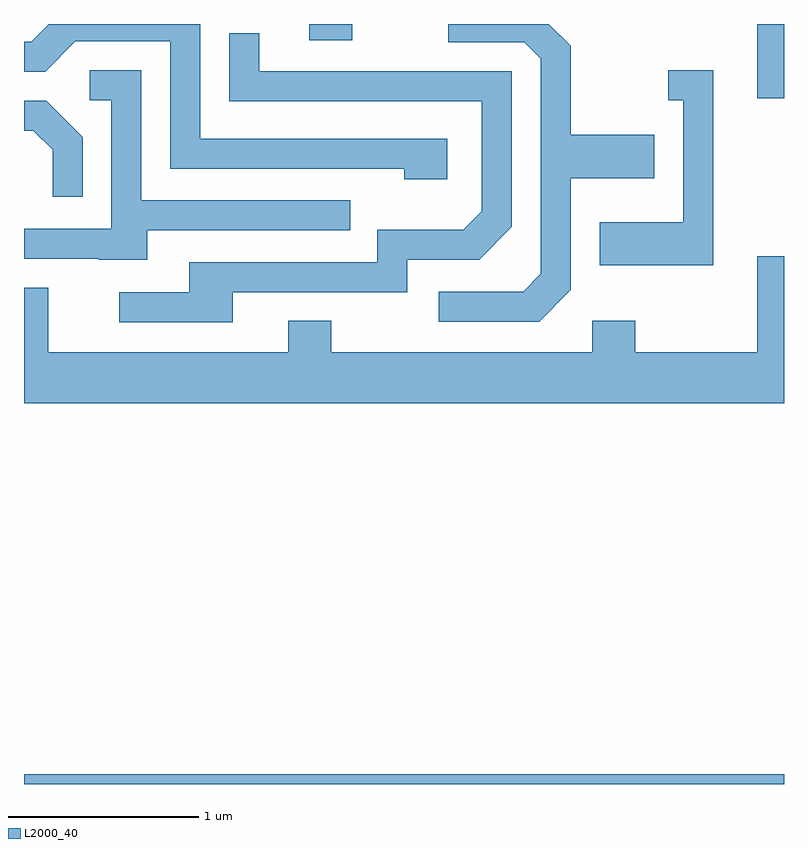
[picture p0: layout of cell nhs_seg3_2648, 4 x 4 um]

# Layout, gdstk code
import gdstk
lib = gdstk.Library(unit=1e-6, precision=1e-09)
def R(c, l, rs):  # rectangles x0, y0, x1, y1
    for r in rs: c.add(gdstk.rectangle(r[:2], r[2:], *l))
def P(c, l, *ps):  # polygons
    for p in ps: c.add(gdstk.Polygon(p, *l))
L2000_40 = (2000, 40)

nhs_seg3_2648 = lib.new_cell('nhs_seg3_2648')
R(nhs_seg3_2648, L2000_40, [(261.611,1243.892,265.611,1243.944), (265.471,1247.501,265.611,1247.892), (263.111,1247.806,263.339,1247.892)])
P(nhs_seg3_2648, L2000_40, [(264.489,1246.494),(264.489,1247.081),(264.929,1247.081),(264.929,1247.309),(264.489,1247.309),(264.489,1247.777),(264.374,1247.892),(263.843,1247.892),(263.843,1247.796),(264.244,1247.796),(264.331,1247.709),(264.331,1246.577),(264.239,1246.484),(263.793,1246.484),(263.793,1246.326),(264.322,1246.326)],
  [(263.839,1247.289),(262.539,1247.289),(262.539,1247.892),(261.741,1247.892),(261.649,1247.799),(261.611,1247.799),(261.611,1247.641),(261.722,1247.641),(261.882,1247.801),(262.381,1247.801),(262.381,1247.131),(263.611,1247.131),(263.611,1247.076),(263.839,1247.076)],
  [(262.709,1246.481),(263.629,1246.481),(263.629,1246.651),(264.007,1246.651),(264.179,1246.824),(264.179,1247.644),(262.849,1247.644),(262.849,1247.843),(262.691,1247.843),(262.691,1247.486),(264.021,1247.486),(264.021,1246.907),(263.924,1246.809),(263.471,1246.809),(263.471,1246.639),(262.481,1246.639),(262.481,1246.479),(262.113,1246.479),(262.113,1246.321),(262.709,1246.321)],
  [(262.259,1246.806),(263.328,1246.806),(263.328,1246.964),(262.229,1246.964),(262.229,1247.649),(261.957,1247.649),(261.957,1247.491),(262.071,1247.491),(262.071,1246.814),(261.611,1246.814),(261.611,1246.656),(262.005,1246.656),(262.005,1246.651),(262.259,1246.651)],
  [(265.239,1247.649),(265.003,1247.649),(265.003,1247.491),(265.081,1247.491),(265.081,1246.849),(264.641,1246.849),(264.641,1246.621),(265.239,1246.621)],
  [(261.919,1247.297),(261.727,1247.489),(261.611,1247.489),(261.611,1247.331),(261.659,1247.331),(261.761,1247.229),(261.761,1246.983),(261.919,1246.983)],
  [(265.611,1246.669),(265.471,1246.669),(265.471,1246.164),(264.829,1246.164),(264.829,1246.329),(264.601,1246.329),(264.601,1246.164),(263.229,1246.164),(263.229,1246.329),(263.001,1246.329),(263.001,1246.164),(261.739,1246.164),(261.739,1246.504),(261.611,1246.504),(261.611,1245.896),(265.611,1245.896)])

lib.write_gds('nhs_seg3_2648.gds')
